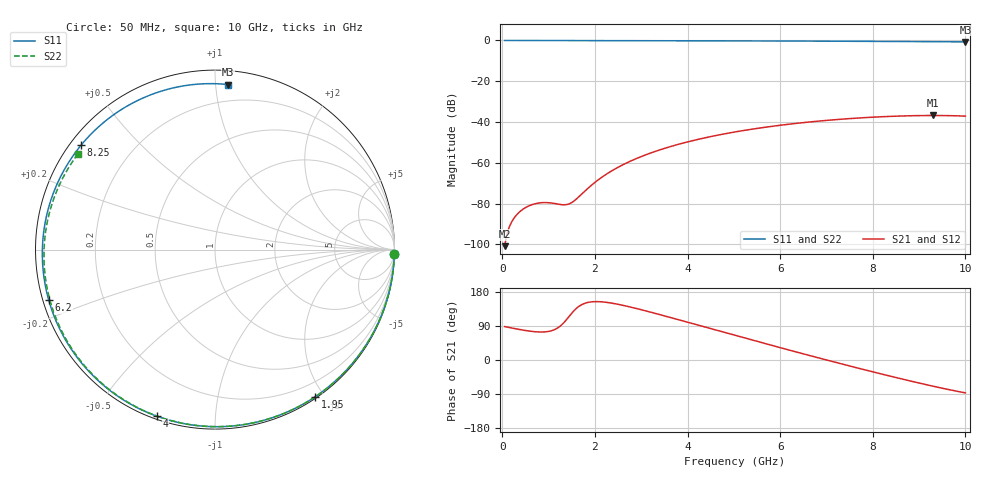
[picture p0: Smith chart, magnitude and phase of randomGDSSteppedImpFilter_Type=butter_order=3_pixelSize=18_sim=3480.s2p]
! freq	dB(S11)	phase(S11)	dB(S12)	phase(S12)
!  dB(S21)	phase(S21)	dB(S22)	phase(S22)
!S-par simulation data
#  GHz  S  DB  R 50
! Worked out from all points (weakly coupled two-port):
!   200 points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, 50 MHz to 10 GHz, reference 50 ohm
!   highest |S21| = -36.78 dB at 9.3 GHz (marker M1); lowest = -100.8 dB at 50 MHz (marker M2)
!   lowest |S11| = -0.7 dB at 10 GHz (marker M3), VSWR 24.79, Z = 4.37 + j53.9 ohm
!   |S11| at or under -10 dB: nowhere
!   |S22| runs from -0.6 to 0.0 dB; largest |S21 - S12| = 0
!   S11 on the Smith chart (normalised r, x): 50 MHz: 2, -77; 1.95 GHz: 0.02, -1.89; 4 GHz: 0.01, -0.71; 6.2 GHz: 0.02, -0.15; 8.25 GHz: 0.03, +0.34; 10 GHz: 0.09, +1.08
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0.05  -0.01 -1.5  -100.83 88.2  -100.83 88.2  -0.00 -1.3
0.7  -0.02 -20.4  -80.09 74.7  -80.09 74.7  -0.02 -17.8
0.9  -0.03 -26.2  -79.46 74.0  -79.46 74.0  -0.03 -22.9
1.45  -0.05 -41.8  -80.05 116.0  -80.05 116.0  -0.05 -36.5
1.55  -0.06 -44.6  -78.65 130.3  -78.65 130.3  -0.05 -39.0
1.75  -0.06 -50.2  -74.55 148.1  -74.55 148.1  -0.06 -43.8
1.95  -0.07 -55.7  -70.50 153.8  -70.50 153.8  -0.06 -48.6
2.25  -0.08 -63.9  -65.51 152.1  -65.51 152.1  -0.07 -55.8
2.6  -0.09 -73.2  -60.98 144.4  -60.98 144.4  -0.08 -63.9
3.4  -0.12 -94.0  -53.64 119.8  -53.64 119.8  -0.11 -81.9
4  -0.15 -109.1  -49.73 99.7  -49.73 99.7  -0.13 -94.8
4.5  -0.17 -121.4  -47.12 82.8  -47.12 82.8  -0.15 -105.2
5.05  -0.20 -134.9  -44.75 64.2  -44.75 64.2  -0.17 -116.3
5.65  -0.24 -149.5  -42.63 44.1  -42.63 44.1  -0.20 -128.1
6.2  -0.28 -163.1  -41.02 26.0  -41.02 26.0  -0.24 -138.7
6.7  -0.32 -175.7  -39.81 9.7  -39.81 9.7  -0.27 -148.3
7.5  -0.40 163.3  -38.30 -15.7  -38.30 -15.7  -0.34 -163.6
8.25  -0.48 142.1  -37.34 -38.8  -37.34 -38.8  -0.41 -178.2
8.35  -0.49 139.1  -37.24 -41.8  -37.24 -41.8  -0.42 179.9
8.85  -0.55 123.9  -36.89 -56.5  -36.89 -56.5  -0.48 169.8
9.3  -0.61 109.4  -36.78 -69.1  -36.78 -69.1  -0.53 160.5
10  -0.70 85.5  -37.10 -86.8  -37.10 -86.8  -0.62 145.2
